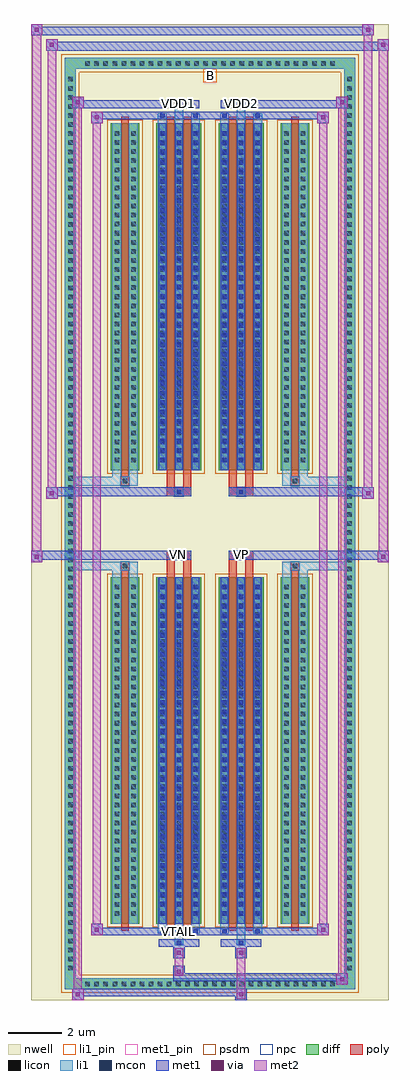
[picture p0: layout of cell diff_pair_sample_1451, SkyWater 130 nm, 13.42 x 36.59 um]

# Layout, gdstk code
import gdstk
lib = gdstk.Library(unit=1e-6, precision=5e-09)
def R(c, l, rs):  # rectangles x0, y0, x1, y1
    for r in rs: c.add(gdstk.rectangle(r[:2], r[2:], *l))
def A(c, l, x, y, w, h, nx, ny, dx, dy):  # array of equal rectangles
    R(c, l, [(x+i*dx, y+j*dy, x+i*dx+w, y+j*dy+h) for i in range(nx) for j in range(ny)])
def P(c, l, *ps):  # polygons
    for p in ps: c.add(gdstk.Polygon(p, *l))
nwell = (64, 20)
diff = (65, 20)
poly = (66, 20)
licon = (66, 44)
li1_pin = (67, 16)
li1 = (67, 20)
mcon = (67, 44)
met1_pin = (68, 16)
met1 = (68, 20)
via = (68, 44)
met2 = (69, 20)
psdm = (94, 20)
npc = (95, 20)

diff_pair_sample_1451 = lib.new_cell('diff_pair_sample_1451')
R(diff_pair_sample_1451, nwell, [(-6.71,-17.86,6.71,18.73), (-4.03,-16.05,-0.01,-0.825), (0.01,-16.05,4.03,-0.825), (-4.03,0.825,-0.01,16.05), (0.01,0.825,4.03,16.05)])
A(diff_pair_sample_1451, diff, -4.795, -17.46, 0.41, 0.41, 28, 2, 0.34, 34.51)
A(diff_pair_sample_1451, diff, -5.44, -16.865, 0.41, 0.41, 1, 99, 0, 0.34)
A(diff_pair_sample_1451, diff, 5.03, -16.865, 0.41, 0.41, 1, 99, 0, 0.34)
R(diff_pair_sample_1451, diff, [(-4.795,-17.46,4.795,-17.05), (-5.44,-16.865,-5.03,16.865), (5.03,-16.865,5.44,16.865), (-3.72,-15.005,-2.65,-2.005), (-2.01,-15.005,-0.32,-2.005), (0.32,-15.005,2.01,-2.005), (2.65,-15.005,3.72,-2.005), (-3.72,2.005,-2.65,15.005), (-2.01,2.005,-0.32,15.005), (0.32,2.005,2.01,15.005), (2.65,2.005,3.72,15.005), (-4.795,17.05,4.795,17.46)])
P(diff_pair_sample_1451, diff, [(5.44,17.46),(-5.44,17.46),(-5.44,-17.05),(-5.03,-17.05),(-5.03,17.05),(5.03,17.05),(5.03,-17.05),(-5.03,-17.05),(-5.44,-17.05),(-5.44,-17.46),(5.44,-17.46)])
R(diff_pair_sample_1451, poly, [(-3.33,-15.255,-3.04,-1.755), (-1.62,-15.255,-1.33,-1.755), (-1,-15.255,-0.71,-1.755), (0.71,-15.255,1,-1.755), (1.33,-15.255,1.62,-1.755), (3.04,-15.255,3.33,-1.755), (-3.35,-1.755,-3.02,-1.425), (-3.35,-1.755,-3.02,-1.425), (-1.62,-1.755,-1.33,-1.355), (-1,-1.755,-0.71,-1.355), (0.71,-1.755,1,-1.355), (1.33,-1.755,1.62,-1.355), (3.02,-1.755,3.35,-1.425), (3.02,-1.755,3.35,-1.425), (-1.62,-1.355,-0.71,-1.025), (-1.33,-1.355,-1,-1.025), (0.71,-1.355,1.62,-1.025), (1,-1.355,1.33,-1.025), (-1.62,1.025,-0.71,1.355), (-1.33,1.025,-1,1.355), (0.71,1.025,1.62,1.355), (1,1.025,1.33,1.355), (-1.62,1.355,-1.33,1.755), (-1,1.355,-0.71,1.755), (0.71,1.355,1,1.755), (1.33,1.355,1.62,1.755), (-3.35,1.425,-3.02,1.755), (-3.35,1.425,-3.02,1.755), (3.02,1.425,3.35,1.755), (3.02,1.425,3.35,1.755), (-3.33,1.755,-3.04,15.255), (-1.62,1.755,-1.33,15.255), (-1,1.755,-0.71,15.255), (0.71,1.755,1,15.255), (1.33,1.755,1.62,15.255), (3.04,1.755,3.33,15.255)])
A(diff_pair_sample_1451, licon, -4.675, -17.34, 0.17, 0.17, 28, 2, 0.34, 34.51)
A(diff_pair_sample_1451, licon, -5.32, -16.745, 0.17, 0.17, 1, 99, 0, 0.34)
A(diff_pair_sample_1451, licon, 5.15, -16.745, 0.17, 0.17, 1, 99, 0, 0.34)
A(diff_pair_sample_1451, licon, -3.58, -14.71, 0.17, 0.17, 1, 37, 0, 0.34)
A(diff_pair_sample_1451, licon, -2.96, -14.71, 0.17, 0.17, 1, 37, 0, 0.34)
A(diff_pair_sample_1451, licon, -1.87, -14.71, 0.17, 0.17, 3, 37, 0.62, 0.34)
A(diff_pair_sample_1451, licon, 0.46, -14.71, 0.17, 0.17, 3, 37, 0.62, 0.34)
A(diff_pair_sample_1451, licon, 2.79, -14.71, 0.17, 0.17, 1, 37, 0, 0.34)
A(diff_pair_sample_1451, licon, 3.41, -14.71, 0.17, 0.17, 1, 37, 0, 0.34)
A(diff_pair_sample_1451, licon, -3.58, 2.3, 0.17, 0.17, 1, 37, 0, 0.34)
A(diff_pair_sample_1451, licon, -2.96, 2.3, 0.17, 0.17, 1, 37, 0, 0.34)
A(diff_pair_sample_1451, licon, -1.87, 2.3, 0.17, 0.17, 3, 37, 0.62, 0.34)
A(diff_pair_sample_1451, licon, 0.46, 2.3, 0.17, 0.17, 3, 37, 0.62, 0.34)
A(diff_pair_sample_1451, licon, 2.79, 2.3, 0.17, 0.17, 1, 37, 0, 0.34)
A(diff_pair_sample_1451, licon, 3.41, 2.3, 0.17, 0.17, 1, 37, 0, 0.34)
R(diff_pair_sample_1451, licon, [(-3.27,-1.675,-3.1,-1.505), (3.1,-1.675,3.27,-1.505), (-1.25,-1.275,-1.08,-1.105), (1.08,-1.275,1.25,-1.105), (-1.25,1.105,-1.08,1.275), (1.08,1.105,1.25,1.275), (-3.27,1.505,-3.1,1.675), (3.1,1.505,3.27,1.675)])
R(diff_pair_sample_1451, li1_pin, [(-0.25,16.55,0.25,17.05)])
A(diff_pair_sample_1451, li1, -4.755, -17.42, 0.33, 0.33, 28, 2, 0.34, 34.51)
A(diff_pair_sample_1451, li1, -5.4, -16.825, 0.33, 0.33, 1, 99, 0, 0.34)
A(diff_pair_sample_1451, li1, 5.07, -16.825, 0.33, 0.33, 1, 99, 0, 0.34)
A(diff_pair_sample_1451, li1, -1.95, -15.005, 0.33, 13, 3, 2, 0.62, 17.01)
A(diff_pair_sample_1451, li1, 0.38, -15.005, 0.33, 13, 3, 2, 0.62, 17.01)
A(diff_pair_sample_1451, li1, -3.66, -14.79, 0.33, 0.33, 1, 37, 0, 0.34)
A(diff_pair_sample_1451, li1, -3.04, -14.79, 0.33, 0.33, 1, 37, 0, 0.34)
A(diff_pair_sample_1451, li1, -1.95, -14.79, 0.33, 0.33, 3, 37, 0.62, 0.34)
A(diff_pair_sample_1451, li1, 0.38, -14.79, 0.33, 0.33, 3, 37, 0.62, 0.34)
A(diff_pair_sample_1451, li1, 2.71, -14.79, 0.33, 0.33, 1, 37, 0, 0.34)
A(diff_pair_sample_1451, li1, 3.33, -14.79, 0.33, 0.33, 1, 37, 0, 0.34)
A(diff_pair_sample_1451, li1, -1.87, -14.71, 0.17, 0.17, 3, 35, 0.62, 0.36)
A(diff_pair_sample_1451, li1, -1.87, -14.71, 0.17, 12.41, 3, 2, 0.62, 17.01)
A(diff_pair_sample_1451, li1, 0.46, -14.71, 0.17, 0.17, 3, 35, 0.62, 0.36)
A(diff_pair_sample_1451, li1, 0.46, -14.71, 0.17, 12.41, 3, 2, 0.62, 17.01)
A(diff_pair_sample_1451, li1, -3.66, 2.22, 0.33, 0.33, 1, 37, 0, 0.34)
A(diff_pair_sample_1451, li1, -3.04, 2.22, 0.33, 0.33, 1, 37, 0, 0.34)
A(diff_pair_sample_1451, li1, -1.95, 2.22, 0.33, 0.33, 3, 37, 0.62, 0.34)
A(diff_pair_sample_1451, li1, 0.38, 2.22, 0.33, 0.33, 3, 37, 0.62, 0.34)
A(diff_pair_sample_1451, li1, 2.71, 2.22, 0.33, 0.33, 1, 37, 0, 0.34)
A(diff_pair_sample_1451, li1, 3.33, 2.22, 0.33, 0.33, 1, 37, 0, 0.34)
A(diff_pair_sample_1451, li1, -1.87, 2.3, 0.17, 0.17, 3, 35, 0.62, 0.36)
A(diff_pair_sample_1451, li1, 0.46, 2.3, 0.17, 0.17, 3, 35, 0.62, 0.36)
R(diff_pair_sample_1451, li1, [(-5.44,-17.46,-5.03,-17.05), (-5.44,-17.46,-5.03,-17.05), (-5.03,-17.46,5.03,-17.05), (5.03,-17.46,5.44,-17.05), (5.03,-17.46,5.44,-17.05), (-5.44,-17.05,-5.03,17.05), (5.03,-17.05,5.44,17.05), (-1.33,-15.81,-1,-15.005), (-1.25,-15.81,-1.08,-15.64), (1,-15.81,1.33,-15.005), (1.08,-15.81,1.25,-15.64), (-1.95,-15.38,-1.62,-15.005), (-1.87,-15.38,-1.7,-15.21), (-0.71,-15.38,-0.38,-15.005), (-0.63,-15.38,-0.46,-15.21), (0.38,-15.38,0.71,-15.005), (0.46,-15.38,0.63,-15.21), (1.62,-15.38,1.95,-15.005), (1.7,-15.38,1.87,-15.21), (-3.66,-15.005,-3.33,-2.005), (-3.04,-15.005,-2.71,-2.005), (2.71,-15.005,3.04,-2.005), (3.33,-15.005,3.66,-2.005), (-3.66,-2.005,-3.33,-1.425), (-3.04,-2.005,-2.71,-1.425), (2.71,-2.005,3.04,-1.425), (3.33,-2.005,3.66,-1.425), (-5.44,-1.755,-3.35,-1.425), (-3.66,-1.755,-3.35,-1.425), (-3.35,-1.755,-3.02,-1.425), (-3.02,-1.755,-2.71,-1.425), (2.71,-1.755,3.02,-1.425), (3.02,-1.755,3.35,-1.425), (3.02,-1.755,5.44,-1.425), (3.35,-1.755,3.66,-1.425), (-1.33,-1.355,-1,-1.025), (1,-1.355,1.33,-1.025), (-1.33,1.025,-1,1.355), (1,1.025,1.33,1.355), (-5.44,1.425,-3.35,1.755), (-3.66,1.425,-3.35,1.755), (-3.66,1.425,-3.33,2.005), (-3.35,1.425,-3.02,1.755), (-3.04,1.425,-2.71,2.005), (-3.02,1.425,-2.71,1.755), (2.71,1.425,3.02,1.755), (2.71,1.425,3.04,2.005), (3.02,1.425,3.35,1.755), (3.02,1.425,5.44,1.755), (3.33,1.425,3.66,2.005), (3.35,1.425,3.66,1.755), (-3.66,2.005,-3.33,15.005), (-3.04,2.005,-2.71,15.005), (2.71,2.005,3.04,15.005), (3.33,2.005,3.66,15.005), (-1.95,15.005,-1.62,15.38), (-1.33,15.005,-1,15.81), (-0.71,15.005,-0.38,15.38), (0.38,15.005,0.71,15.38), (1,15.005,1.33,15.81), (1.62,15.005,1.95,15.38), (-1.87,15.21,-1.7,15.38), (-0.63,15.21,-0.46,15.38), (0.46,15.21,0.63,15.38), (1.7,15.21,1.87,15.38), (-1.25,15.64,-1.08,15.81), (1.08,15.64,1.25,15.81), (-5.44,17.05,-5.03,17.46), (-5.44,17.05,-5.03,17.46), (-5.03,17.05,5.03,17.46), (5.03,17.05,5.44,17.46), (5.03,17.05,5.44,17.46)])
A(diff_pair_sample_1451, mcon, -1.87, -14.71, 0.17, 0.17, 3, 35, 0.62, 0.36)
A(diff_pair_sample_1451, mcon, 0.46, -14.71, 0.17, 0.17, 3, 35, 0.62, 0.36)
A(diff_pair_sample_1451, mcon, -1.87, 2.3, 0.17, 0.17, 3, 35, 0.62, 0.36)
A(diff_pair_sample_1451, mcon, 0.46, 2.3, 0.17, 0.17, 3, 35, 0.62, 0.36)
R(diff_pair_sample_1451, mcon, [(-1.25,-15.81,-1.08,-15.64), (1.08,-15.81,1.25,-15.64), (-1.87,-15.38,-1.7,-15.21), (-0.63,-15.38,-0.46,-15.21), (0.46,-15.38,0.63,-15.21), (1.7,-15.38,1.87,-15.21), (-1.25,-1.275,-1.08,-1.105), (1.08,-1.275,1.25,-1.105), (-1.25,1.105,-1.08,1.275), (1.08,1.105,1.25,1.275), (-1.87,15.21,-1.7,15.38), (-0.63,15.21,-0.46,15.38), (0.46,15.21,0.63,15.38), (1.7,15.21,1.87,15.38), (-1.25,15.64,-1.08,15.81), (1.08,15.64,1.25,15.81)])
R(diff_pair_sample_1451, met1_pin, [(-1.3,-15.42,-1.03,-15.15), (-1.3,-1.295,-1.03,-1.025), (1.03,-1.295,1.3,-1.025), (-1.3,15.6,-1.03,15.87), (1.03,15.6,1.3,15.87)])
A(diff_pair_sample_1451, met1, -1.93, -15.005, 0.29, 13, 3, 2, 0.62, 17.01)
A(diff_pair_sample_1451, met1, 0.4, -15.005, 0.29, 13, 3, 2, 0.62, 17.01)
A(diff_pair_sample_1451, met1, -1.93, -14.77, 0.29, 0.29, 3, 35, 0.62, 0.36)
A(diff_pair_sample_1451, met1, 0.4, -14.77, 0.29, 0.29, 3, 35, 0.62, 0.36)
A(diff_pair_sample_1451, met1, -1.93, 2.24, 0.29, 0.29, 3, 35, 0.62, 0.36)
A(diff_pair_sample_1451, met1, 0.4, 2.24, 0.29, 0.29, 3, 35, 0.62, 0.36)
R(diff_pair_sample_1451, met1, [(-5.17,-17.86,-4.74,-17.43), (0.95,-17.86,1.38,-17.43), (-5.17,-17.72,1.38,-17.43), (4.74,-17.29,5.17,-16.86), (-1.38,-17.15,5.17,-16.86), (-1.38,-17.01,-0.95,-16.58), (-1.38,-16.3,-0.95,-15.87), (0.95,-16.3,1.38,-15.87), (-1.93,-15.87,-0.4,-15.58), (-1.31,-15.87,-1.02,-15.58), (0.4,-15.87,1.93,-15.58), (1.02,-15.87,1.31,-15.58), (-4.46,-15.44,-4.03,-15.01), (-4.46,-15.44,-1.93,-15.15), (-1.93,-15.44,-1.64,-15.15), (-1.93,-15.44,-0.4,-15.15), (-0.69,-15.44,-0.4,-15.15), (-0.4,-15.44,0.4,-15.15), (0.4,-15.44,0.69,-15.15), (0.4,-15.44,1.93,-15.15), (1.64,-15.44,1.93,-15.15), (1.93,-15.44,4.46,-15.15), (4.03,-15.44,4.46,-15.01), (-6.71,-1.455,-6.28,-1.025), (6.28,-1.455,6.71,-1.025), (-6.71,-1.355,-0.71,-1.025), (-1.62,-1.355,-0.71,-1.025), (0.71,-1.355,1.62,-1.025), (0.71,-1.355,6.71,-1.025), (-1.31,-1.335,-1.02,-1.045), (1.02,-1.335,1.31,-1.045), (-6.14,0.925,-5.71,1.355), (5.71,0.925,6.14,1.355), (-6.14,1.025,-1.62,1.355), (-1.62,1.025,-0.71,1.355), (0.71,1.025,1.62,1.355), (1.62,1.025,6.14,1.355), (-1.31,1.045,-1.02,1.335), (1.02,1.045,1.31,1.335), (-4.46,15.01,-4.03,15.44), (4.03,15.01,4.46,15.44), (-4.46,15.15,-1.93,15.44), (-1.93,15.15,-1.64,15.44), (-1.93,15.15,-0.4,15.44), (-0.69,15.15,-0.4,15.44), (-0.4,15.15,0.4,15.44), (0.4,15.15,0.69,15.44), (0.4,15.15,1.93,15.44), (1.64,15.15,1.93,15.44), (1.93,15.15,4.46,15.44), (-5.17,15.58,-4.74,16.01), (-5.17,15.58,-1.93,15.87), (-1.93,15.58,-0.4,15.87), (-1.31,15.58,-1.02,15.87), (0.4,15.58,1.93,15.87), (1.02,15.58,1.31,15.87), (1.93,15.58,5.17,15.87), (4.74,15.58,5.17,16.01), (-6.14,17.73,-5.71,18.16), (-6.14,17.73,-4.03,18.06), (-4.03,17.73,4.03,18.06), (4.03,17.73,6.71,18.06), (6.28,17.73,6.71,18.16), (-6.71,18.3,-6.28,18.73), (-6.71,18.3,-4.03,18.63), (-4.03,18.3,4.03,18.63), (4.03,18.3,6.14,18.63), (5.71,18.3,6.14,18.73)])
R(diff_pair_sample_1451, via, [(-5.03,-17.72,-4.88,-17.57), (1.09,-17.72,1.24,-17.57), (4.88,-17.15,5.03,-17), (-1.24,-16.87,-1.09,-16.72), (-1.24,-16.16,-1.09,-16.01), (1.09,-16.16,1.24,-16.01), (-4.32,-15.3,-4.17,-15.15), (4.17,-15.3,4.32,-15.15), (-6.57,-1.315,-6.42,-1.165), (6.42,-1.315,6.57,-1.165), (-6,1.065,-5.85,1.215), (5.85,1.065,6,1.215), (-4.32,15.15,-4.17,15.3), (4.17,15.15,4.32,15.3), (-5.03,15.72,-4.88,15.87), (4.88,15.72,5.03,15.87), (-6,17.87,-5.85,18.02), (6.42,17.87,6.57,18.02), (-6.57,18.44,-6.42,18.59), (5.85,18.44,6,18.59)])
R(diff_pair_sample_1451, met2, [(-5.17,-17.86,-4.74,-17.43), (-5.1,-17.86,-4.81,16.01), (-4.81,-17.86,-4.74,-17.43), (-5.12,-17.81,-4.79,-17.48), (1,-17.81,1.33,-17.48), (1,-17.48,1.33,-16.25), (4.74,-17.29,5.17,-16.86), (4.81,-17.29,5.1,16.01), (5.1,-17.29,5.17,-16.86), (4.79,-17.24,5.12,-16.91), (-1.33,-16.96,-1,-16.63), (-1.33,-16.63,-1,-16.25), (-1.33,-16.25,-1,-15.92), (1,-16.25,1.33,-15.92), (-4.46,-15.44,-4.03,-15.01), (-4.39,-15.44,-4.1,15.44), (-4.1,-15.44,-4.03,-15.01), (4.03,-15.44,4.46,-15.01), (4.1,-15.44,4.39,15.44), (4.39,-15.44,4.46,-15.01), (-4.41,-15.39,-4.08,-15.06), (4.08,-15.39,4.41,-15.06), (-6.71,-1.455,-6.28,-1.025), (-6.66,-1.455,-6.33,18.73), (-6.33,-1.455,-6.28,-1.025), (6.28,-1.455,6.71,-1.025), (6.33,-1.455,6.66,18.16), (6.66,-1.455,6.71,-1.025), (-6.66,-1.405,-6.33,-1.075), (6.33,-1.405,6.66,-1.075), (-6.14,0.925,-5.71,1.355), (-6.09,0.925,-5.76,18.16), (-5.76,0.925,-5.71,1.355), (5.71,0.925,6.14,1.355), (5.76,0.925,6.09,18.73), (6.09,0.925,6.14,1.355), (-6.09,0.975,-5.76,1.305), (5.76,0.975,6.09,1.305), (-4.46,15.01,-4.03,15.44), (-4.1,15.01,-4.03,15.44), (4.03,15.01,4.46,15.44), (4.39,15.01,4.46,15.44), (-4.41,15.06,-4.08,15.39), (4.08,15.06,4.41,15.39), (-5.17,15.58,-4.74,16.01), (-4.81,15.58,-4.74,16.01), (4.74,15.58,5.17,16.01), (5.1,15.58,5.17,16.01), (-5.12,15.63,-4.79,15.96), (4.79,15.63,5.12,15.96), (-6.14,17.73,-5.71,18.16), (-5.76,17.73,-5.71,18.16), (6.28,17.73,6.71,18.16), (6.66,17.73,6.71,18.16), (-6.09,17.78,-5.76,18.11), (6.33,17.78,6.66,18.11), (-6.71,18.3,-6.28,18.73), (-6.33,18.3,-6.28,18.73), (5.71,18.3,6.14,18.73), (6.09,18.3,6.14,18.73), (-6.66,18.35,-6.33,18.68), (5.76,18.35,6.09,18.68)])
R(diff_pair_sample_1451, psdm, [(-3.85,-15.135,-2.52,-1.875), (-2.14,-15.135,-0.19,-1.875), (0.19,-15.135,2.14,-1.875), (2.52,-15.135,3.85,-1.875), (-3.85,1.875,-2.52,15.135), (-2.14,1.875,-0.19,15.135), (0.19,1.875,2.14,15.135), (2.52,1.875,3.85,15.135)])
P(diff_pair_sample_1451, psdm, [(5.57,17.59),(-5.57,17.59),(-5.57,-16.92),(-4.9,-16.92),(-4.9,16.92),(4.9,16.92),(4.9,-16.92),(-4.9,-16.92),(-5.57,-16.92),(-5.57,-17.59),(5.57,-17.59)])
R(diff_pair_sample_1451, npc, [(-3.37,-1.775,-3,-1.405), (3,-1.775,3.37,-1.405), (-1.35,-1.375,-0.98,-1.005), (0.98,-1.375,1.35,-1.005), (-1.35,1.005,-0.98,1.375), (0.98,1.005,1.35,1.375), (-3.37,1.405,-3,1.775), (3,1.405,3.37,1.775)])
diff_pair_sample_1451.add(gdstk.Label('VTAIL', (-1.165,-15.285), layer=68, texttype=5))
diff_pair_sample_1451.add(gdstk.Label('VN', (-1.165,-1.16), layer=68, texttype=5))
diff_pair_sample_1451.add(gdstk.Label('VP', (1.165,-1.16), layer=68, texttype=5))
diff_pair_sample_1451.add(gdstk.Label('B', (0,16.8), layer=67, texttype=5))
diff_pair_sample_1451.add(gdstk.Label('VDD2', (1.165,15.735), layer=68, texttype=5))
diff_pair_sample_1451.add(gdstk.Label('VDD1', (-1.165,15.735), layer=68, texttype=5))

lib.write_gds('diff_pair_sample_1451.gds')
